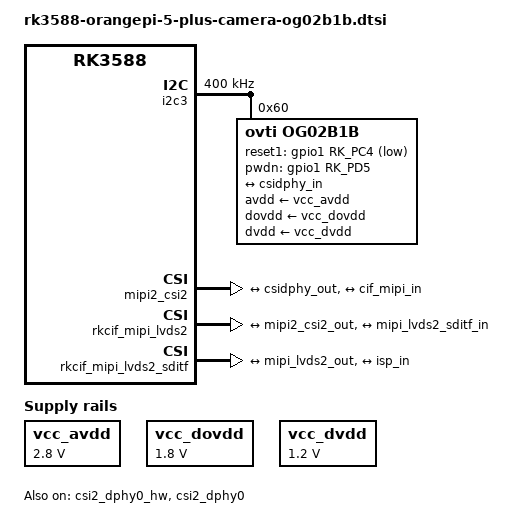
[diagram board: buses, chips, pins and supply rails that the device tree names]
// SPDX-License-Identifier: (GPL-2.0+ OR MIT)
/*
 * Copyright (c) 2021 Rockchip Electronics Co., Ltd.
 *
 */

/ {
vcc_avdd: camera-avdd-reg {
    compatible = "regulator-fixed";
    regulator-name = "camera-avdd";
    regulator-min-microvolt = <2800000>;
    regulator-max-microvolt = <2800000>;
    regulator-boot-on;
    regulator-always-on;
};

vcc_dovdd: camera-dovdd-reg {
    compatible = "regulator-fixed";
    regulator-name = "camera-dovdd";
    regulator-min-microvolt = <1800000>;
    regulator-max-microvolt = <1800000>;
    regulator-boot-on;
    regulator-always-on;
};

vcc_dvdd: camera-dvdd-reg {
    compatible = "regulator-fixed";
    regulator-name = "camera-dvdd";
    regulator-min-microvolt = <1200000>;
    regulator-max-microvolt = <1200000>;
    regulator-boot-on;
    regulator-always-on;
};
};



&i2c3 {
	status = "okay";
	pinctrl-names = "default";
	pinctrl-0 = <&i2c3m0_xfer>;


// added for og02b1b

	clock-frequency = <400000>;
	/delete-node/ ar0230@10;
	/delete-node/ ov4689@36;
	/delete-node/ os04a10@36;
	/delete-node/ ov2718@10;
	/delete-node/ gc2053@37;
	
	og02b1b: og02b1b@60 {
		status = "okay";
		compatible = "ovti,og02b1b";
		reg = <0x60>;
		//clocks = <&cru CLK_MIPICSI_OUT>;
		clocks = <&cru CLK_MIPI_CAMARAOUT_M3>;	
		clock-names = "xvclk";
		//power-domains = <&power RV1126_PD_VI>;
		pinctrl-names = "default";
		//pinctrl-0 = <&mipicsi_clk0>;
		pinctrl-0 = <&mipim1_camera3_clk>;
		
		avdd-supply = <&vcc_avdd>;
		dovdd-supply = <&vcc_dovdd>;
		dvdd-supply = <&vcc_dvdd>;

		//pwdn-gpios = <&gpio1 RK_PD6 GPIO_ACTIVE_HIGH>;
        	//reset-gpios = <&gpio1 RK_PD7 GPIO_ACTIVE_LOW>;  
                reset1-gpios = <&gpio1 RK_PC4 GPIO_ACTIVE_LOW>;
                pwdn-gpios = <&gpio1 RK_PD5 GPIO_ACTIVE_HIGH>;

		rockchip,camera-module-index = <0>;
		rockchip,camera-module-facing = "front";
		rockchip,camera-module-name = "og02b1b-module";
		rockchip,camera-module-lens-name = "default";
		//ir-cut = <&cam_ircut0>;
		
		port {
			//reg = <0>;
       	        	#address-cells = <1>;
	                #size-cells = <0>;
			ucam_out0: endpoint@0 {
				reg = <0>;
				remote-endpoint = <&csidphy_in>;
				bus-type = <4>;
				data-lanes = <1 2>; 
				clock-lanes = <0>;
		                link-frequencies = /bits/ 64 <400000000>;
			};
		};
	};
// end add
};  


&csi2_dphy0_hw {
	status = "okay";
};

// add for og02b1b
&csi2_dphy0 {
	status = "okay";
	ports {
	    
		#address-cells = <1>;
		#size-cells = <0>;
		port@0 {
			reg = <0>;
		        #address-cells = <1>;
		        #size-cells = <0>;
			csidphy_in: endpoint@0 {
				reg = <0>;
				remote-endpoint = <&ucam_out0>;
				bus-type = <4>;
				clock-lanes = <0>;
				data-lanes = <1 2>;
			};
		};
		port@1 {
			reg = <1>;
		        #address-cells = <1>;
		        #size-cells = <0>;
			csidphy_out: endpoint@0 {
				reg = <0>;
				remote-endpoint = <&mipi2_csi2_in>;
				clock-lanes = <0>;
				bus-type = <4>;
				data-lanes = <1 2>;
			};
		};
	};
};

// end add


&mipi2_csi2 {
	status = "okay";
	ports {
		
		#address-cells = <1>;
		#size-cells = <0>;
		
		port@0 {
			reg = <0>;
			#address-cells = <1>;
			#size-cells = <0>;
			mipi2_csi2_in: endpoint@0 {
				reg = <0>;
				remote-endpoint = <&csidphy_out>;
				//bus-type = <4>;             // V4L2_MBUS_CSI2_DPHY
				//data-lanes = <1 2>;
			};
		};
		port@1 { 
			reg = <1>;
			#address-cells = <1>;
			#size-cells = <0>;
			mipi2_csi2_out: endpoint@0 {
				reg = <0>;
				remote-endpoint = <&cif_mipi_in>;
				//remote-endpoint = <&isp_in>;
				//bus-type = <4>;             // V4L2_MBUS_CSI2_DPHY
				//data-lanes = <1 2>;
			};
		};
	};
};

&rkcif_mipi_lvds2 {
	status = "okay";
	ports {
		#address-cells = <1>;
		#size-cells = <0>;
		/* Input from mipi2_csi2 */
		port@0 {
			reg = <0>;
	                #address-cells = <1>;
	                #size-cells = <0>;
			cif_mipi_in: endpoint@0 {
				reg = <0>;
				remote-endpoint = <&mipi2_csi2_out>;
			};
		};

		/* Output to rkcif_mipi_lvds2_sditf */
		port@1 {
			reg = <1>;
	                #address-cells = <1>;
        	        #size-cells = <0>;
			mipi_lvds2_out: endpoint@0 {
				reg = <0>;
				remote-endpoint = <&mipi_lvds2_sditf_in>;
			};
		};
	};
};

&rkcif_mipi_lvds2_sditf { 
	status = "okay";
	ports {
		
		#address-cells = <1>;
		#size-cells = <0>;
		/* Input from rkcif_mipi_lvds2 */
		port@0 {
			reg = <0>;
	                #address-cells = <1>;
        	        #size-cells = <0>;
			mipi_lvds2_sditf_in: endpoint@0 {
				reg = <0>;
				remote-endpoint = <&mipi_lvds2_out>; 
			};
		};

		/* Output to ISP */
		port@1 {
			reg = <1>;
        	        #address-cells = <1>;
	                #size-cells = <0>;
			mipi_lvds2_sditf_out: endpoint@0 {
				reg = <0>;
				remote-endpoint = <&isp_in>;
			};
		};
	};
};


// added for og02b1b
&rkisp0_vir2 {
	ports {
        #address-cells = <1>;
        #size-cells = <0>;
		port@0 {
			isp_in: endpoint@0 {
				//remote-endpoint = <&mipi2_csi2_output>;
				remote-endpoint = <&mipi_lvds2_sditf_out>;
			};
		};
	};
};
//end add

//&rkispp {
//	status = "okay";
//	/* the max input w h and fps of mulit sensor */
//	max-input = <1600 1300 60>;
//};

//&rkisp0_vir1 {
//	status = "disabled";
//	port {
//		#address-cells = <1>;
//		#size-cells = <0>;
//		isp0_vir1: endpoint@0 {
//			reg = <0>;
//			remote-endpoint = <&mipi2_lvds_sditf>;
//		};
//	};
//};

